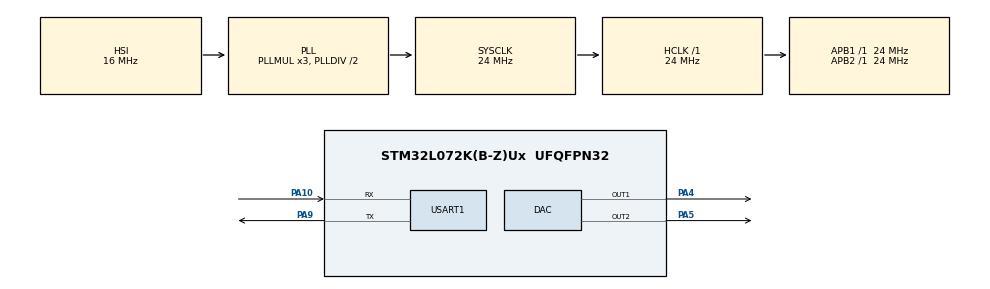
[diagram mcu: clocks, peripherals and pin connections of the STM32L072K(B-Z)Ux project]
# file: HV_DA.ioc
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ADC.ClockPrescaler=ADC_CLOCK_SYNC_PCLK_DIV4
ADC.SamplingTime=ADC_SAMPLETIME_160CYCLES_5
Mcu.Family=STM32L0
Mcu.Name=STM32L072K(B-Z)Ux
Mcu.Package=UFQFPN32
NVIC.ADC1_COMP_IRQn=true\:1\:0\:true\:false\:true\:true
NVIC.USART1_IRQn=true\:2\:0\:true\:false\:true\:true
PA10.Mode=Asynchronous
PA10.Signal=USART1_RX
PA13.Mode=Serial_Wire
PA13.Signal=SYS_SWDIO
PA14.Mode=Serial_Wire
PA14.Signal=SYS_SWCLK
PA4.Signal=COMP_DAC1_group
PA5.Signal=COMP_DAC2_group
PA9.Mode=Asynchronous
PA9.Signal=USART1_TX
ProjectManager.HeapSize=0x200
ProjectManager.StackSize=0x400
ProjectManager.TargetToolchain=MDK-ARM V5
RCC.AHBFreq_Value=24000000
RCC.APB1Freq_Value=24000000
RCC.APB1TimFreq_Value=24000000
RCC.APB2Freq_Value=24000000
RCC.APB2TimFreq_Value=24000000
RCC.HCLKFreq_Value=24000000
RCC.HSI16_VALUE=16000000
RCC.HSI48_VALUE=48000000
RCC.HSI_VALUE=16000000
RCC.LSE_VALUE=32768
RCC.MSI_VALUE=2097000
RCC.SYSCLKFreq_VALUE=24000000
RCC.SYSCLKSource=RCC_SYSCLKSOURCE_PLLCLK
RCC.VCOOutputFreq_Value=48000000
SH.COMP_DAC1_group.0=DAC_OUT1,DAC_OUT1
SH.COMP_DAC2_group.0=DAC_OUT2,DAC_OUT2
USART1.VirtualMode-Asynchronous=VM_ASYNC
VP_ADC_TempSens_Input.Mode=IN-TempSens
board=custom

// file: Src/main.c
/**
  ******************************************************************************
  * @file           : main.c
  * @brief          : Main program body
  ******************************************************************************
  ** This notice applies to any and all portions of this file
  * that are not between comment pairs USER CODE BEGIN and
  * USER CODE END. Other portions of this file, whether
  * inserted by the user or by software development tools
  * are owned by their respective copyright owners.
  *
  * COPYRIGHT(c) 2018 STMicroelectronics
  *
  * Redistribution and use in source and binary forms, with or without modification,
  * are permitted provided that the following conditions are met:
  *   1. Redistributions of source code must retain the above copyright notice,
  *      this list of conditions and the following disclaimer.
  *   2. Redistributions in binary form must reproduce the above copyright notice,
  *      this list of conditions and the following disclaimer in the documentation
  *      and/or other materials provided with the distribution.
  *   3. Neither the name of STMicroelectronics nor the names of its contributors
  *      may be used to endorse or promote products derived from this software
  *      without specific prior written permission.
  *
  * THIS SOFTWARE IS PROVIDED BY THE COPYRIGHT HOLDERS AND CONTRIBUTORS "AS IS"
  * AND ANY EXPRESS OR IMPLIED WARRANTIES, INCLUDING, BUT NOT LIMITED TO, THE
  * IMPLIED WARRANTIES OF MERCHANTABILITY AND FITNESS FOR A PARTICULAR PURPOSE ARE
  * DISCLAIMED. IN NO EVENT SHALL THE COPYRIGHT HOLDER OR CONTRIBUTORS BE LIABLE
  * FOR ANY DIRECT, INDIRECT, INCIDENTAL, SPECIAL, EXEMPLARY, OR CONSEQUENTIAL
  * DAMAGES (INCLUDING, BUT NOT LIMITED TO, PROCUREMENT OF SUBSTITUTE GOODS OR
  * SERVICES; LOSS OF USE, DATA, OR PROFITS; OR BUSINESS INTERRUPTION) HOWEVER
  * CAUSED AND ON ANY THEORY OF LIABILITY, WHETHER IN CONTRACT, STRICT LIABILITY,
  * OR TORT (INCLUDING NEGLIGENCE OR OTHERWISE) ARISING IN ANY WAY OUT OF THE USE
  * OF THIS SOFTWARE, EVEN IF ADVISED OF THE POSSIBILITY OF SUCH DAMAGE.
  *
  ******************************************************************************
  */
#include "main.h"
#include "stm32l0xx_hal.h"
//#include "stm32l072xx.h"

/* USER CODE BEGIN Includes */

#define TEMP130_CAL_ADDR ((uint16_t*) ((uint32_t) 0x1FF8007E))
#define TEMP30_CAL_ADDR ((uint16_t*) ((uint32_t) 0x1FF8007A))
#define VDD_CALIB ((uint16_t) (300))
#define VDD_APPLI ((uint16_t) (330))

//#define EEPROM_ADDR  0x08006000 //EEPROM 地址
/* USER CODE END Includes */

//要写入到STM32 FLASH的字符串数组
//const uint8_t TEXT_Buffer[]={"STM32F103 FLASH TEST"};
const uint16_t  f[12]={0,1,2,3,4,5,6,7,8,9,10,11};
//#define SIZE sizeof(b)		//数组长度
//#define FLASH_SAVE_ADDR  0X08070000		//设置FLASH 保存地址(必须为偶数，且其值要大于本代码所占用FLASH的大小+0X08000000)
#define FLASH_SAVE_ADDR1  0X08010000		//设置FLASH 保存地址(必须为偶数，且其值要大于本代码所占用FLASH的大小+0X08000000)

//用户根据自己的需要设置
#define STM32_FLASH_SIZE 	128 	 		//所选STM32的FLASH容量大小(单位为K)STM32F103ZE 512K  STM32L072KBUx为128K
#define STM32_FLASH_WREN 	1              	//使能FLASH写入(0，不是能;1，使能)
//////////////////////////////////////////////////////////////////////////////////////////////////////

//FLASH起始地址
#define STM32_FLASH_BASE 0x08000000 		//STM32 FLASH的起始地址
//FLASH解锁键值
//#define FLASH_KEY1               0X45670123
//#define FLASH_KEY2               0XCDEF89AB
#define FLASH_KEY1               0XFBEAD9C8
#define FLASH_KEY2               0X24252627

#define EEPROM_BASE_ADDR	0x08080000
#define EEPROM_BYTE_SIZE	0x01FF

 uint8_t TEXT_Buffer[]={"STM32F103 FLASH"};
#define SIZE sizeof(TEXT_Buffer)		//数组长度

//#define FLASH_OPTKEY1              ((uint32_t)0xFBEAD9C8U) /*!< Flash option key1 */
//#define FLASH_OPTKEY2              ((uint32_t)0x24252627U) /*!< Flash option key2: used with FLASH_OPTKEY1 to

ADC_HandleTypeDef hadc;

DAC_HandleTypeDef hdac;

UART_HandleTypeDef huart1;

//UART_HandleTypeDef huart2;

/* USER CODE BEGIN PV */
/* Private variables ---------------------------------------------------------*/

int16_t TempTab[16][3] = {  //温度补偿数组

	//                温度  1450  1660
//										{125,-80,  400},   //125----保护
//										{94, -80,  400},	  //85
//										{89, -97,  431},	  //80
//										{85, -81,  444},    //75
//										{80, -65,  458},    //70
//										{75, -44, 471},     //65
//										{70, -24, 484},			//60
//										{65, 8, 495},     //55
//										{60, 40,  505},			//50
//										{54, 58,  517},     //45
//
//										{48, 76,  531},     //40
//										{45, 95,  530},     //35
//										{39, 115, 530},			//30
//										{37, 150, 540},      //25
//										{33, 170, 545},			//20
//										{24, 210, 550},		  //15
//
//										{22, 220, 555},     //10
//										{19, 230, 555},      //5
//										{14, 255, 555},			//0
//										{9,  275, 555},      //-5
//										{5,  295, 545},		//-10
//										{0,  315, 530},	  //-15
//
//										{-5, 315, 505},    //-20
//										{-9, 330, 490},    //-25
//										{-14,360, 470},		//-30
//										{-18,365, 450},     //-35
//										{-23,375, 430},		//-40
//										{-28,385, 410},	    //-45
//										{-40,385, 410}	    //-50---保护

										{125,0,0},   //125----保护
										{86,0,0},	  //
										{75,0,0},	  //
										{66,0,0},    //
										{58,0,0},    //
										{49,0,0},     //
										{42,0,0},			//
										{33,0,0},     //
										{22,0,0},			//
										{15,0,0},     //

										{7,0,0},     //
										{-2,0,0},     //
										{-11,0,0},			//
										{-20,0,0},      //
										{-28,0,0},			//
										{-50,0,0}	    //-50---保护
								                        };

/* -----------------------------temperature参数----------------------------*/
int32_t ad_temp_avge=0;
int32_t temperature=0;
uint32_t temp_cnt=0;

int16_t temp_value,adj_temp_1450,adj_temp_1660,j;
/* -----------------------------电压参数----------------------------*/
uint32_t Vbias1450,Vbias1660;

/* -----------------------------dac参数-----------------------------*/
uint32_t  adc_val_pos=0;
int16_t  dac_val_adj=0,dac_val_adj_1=0;
uint8_t  dac_val_sign=0;
uint32_t dac_val_base= 4095;
uint32_t dac_val_set,dac1_1450_val_set,dac2_1660_val_set;

uint8_t  dac_uart_channel;
uint8_t  dac_uart_sign=0;
uint16_t  dac_uart_adj=0;
uint16_t  dac_uart_adj_H=0;
uint16_t  dac_uart_adj_L=0;

uint8_t  dac_uart_sign2=0;
uint16_t  dac_uart_adj2=0;
uint16_t  dac_uart_adj_H2=0;
uint16_t  dac_uart_adj_L2=0;
/* -----------------------------adc参数----------------------------*/
uint32_t adc_val=0;
uint8_t  adc_flag=0;

uint8_t ping_flag=0;

/* -----------------------------timer参数----------------------------*/
uint16_t systick_1scnt=0;
uint8_t systick_1sflag=0;
uint16_t systick_100mscnt=0;
uint8_t systick_100msflag=0;

/* -----------------------------uart参数----------------------------*/

//uint16_t a[12]={0,1,2,3,4,5,6,7,8,9,10,11};

#define RXBUF_NUM 1
uint8_t uart1_process_txbuf[102] = {0};
uint8_t uart1_process_rxbuf[102] = {0};
uint8_t rx_array_102=0;
uint8_t rxbuf[RXBUF_NUM] = {0};                //串口接收
uint8_t rxflag[10] = {0};
uint8_t arx_data=0;
uint8_t TX_ON,RX_ERR_FLAG;
uint8_t RX_FLAG = 1;
uint8_t RX_FLAG_PRO = 0;
int rx_index = 2;
uint8_t header_flag = 1;
uint8_t adc_or_rx = 1;

uint16_t  a[48]={0,1,2,3,4,5,6,7,8,9,10,11,11,10,9,8,7,6,5,4,3,2,1,0,0,1,2,3,4,5,6,7,8,9,10,11,11,10,9,8,7,6,5,4,3,2,1,0};
int16_t b[16]={0};
int16_t c[16]={0};
int16_t d[16]={0};
uint8_t e[96]={0};
uint8_t arr[2];

uint8_t datatemp[96];
/* -----------------------------eeprom参数----------------------------*/
uint32_t rdeeprom1=0;
uint32_t wreeprom1=0;
uint32_t rdeeprom2=0;
uint32_t wreeprom2=0;
/* USER CODE END PV */

void SystemClock_Config(void);
static void MX_GPIO_Init(void);
static void MX_DAC_Init(void);
static void MX_USART1_UART_Init(void);
static void MX_ADC_Init(void);
void Uart1_process(void);
/* USER CODE BEGIN PFP */
/* Private function prototypes -----------------------------------------------*/
void variables_Init(void);
int16_t FindBySeq(int16_t temp_value);
void adc_pro(void);

/* USER CODE END PFP */

#define EN_INT      	__enable_irq();		//???????
#define DIS_INT     	__disable_irq();	//???????
#define PEKEY1	0x89ABCDEF		//FLASH_PEKEYR
#define PEKEY2	0x02030405		//FLASH_PEKEYR

void EEPROM_Write_Bytes(uint32_t Addr,uint8_t *Buffer,uint16_t Length)
{
	uint32_t wAddr = DATA_EEPROM_BASE + Addr;

	HAL_FLASHEx_DATAEEPROM_EnableFixedTimeProgram();
	HAL_FLASHEx_DATAEEPROM_Unlock();

	while(Length--)
		{
		HAL_FLASHEx_DATAEEPROM_Program(FLASH_TYPEPROGRAMDATA_BYTE, wAddr, (uint32_t)(*Buffer));
		wAddr++;
		Buffer++;
	}

	HAL_FLASHEx_DATAEEPROM_Lock();
	HAL_FLASHEx_DATAEEPROM_DisableFixedTimeProgram();
}

void	EEPROM_read_Bytes(uint32_t	addr, uint8_t *data, uint16_t len)
{
	int8_t*	wAddr;
	wAddr = (int8_t*)(addr);
	while(len--)
	{
		*data++ = *wAddr++;
	}
}

/* USER CODE BEGIN 0 */

/*******************************************************************************
* : delay_us

*******************************************************************************/
void delay_us(uint32_t i)
{
    uint32_t temp;
    SysTick->LOAD=9*i;         //??????, 72MHZ?
    SysTick->CTRL=0X01;         //??,???????,???????
    SysTick->VAL=0;                //?????
    do
    {
        temp=SysTick->CTRL;           //????????
    }
    while((temp&0x01)&&(!(temp&(1<<16))));     //??????
    SysTick->CTRL=0;    //?????
    SysTick->VAL=0;        //?????
}

void Delay(__IO uint32_t nCount)  //软件延时函数
{
  for(; nCount != 0; nCount--);
}

void HAL_SYSTICK_Callback()   //滴答定时器回调函数
{
	 if(systick_1scnt<1000) systick_1scnt++;
	 else
	 {
      systick_1scnt=0;
      systick_1sflag=1;

			HAL_UART_Receive_IT(&huart1,(uint8_t *) rxbuf,RXBUF_NUM);
			RX_FLAG = 1;
			rx_index = 2;
			header_flag = 1;
			for(uint8_t index1=0;index1<10;index1++)
			rxflag[index1] = 0;
	 }

	 if(systick_100mscnt<100)
	 {
		  systick_100mscnt++;
	 }
	 else
	 {
      systick_100mscnt=0;
      systick_100msflag=1;
	 }
}

void HAL_UART_RxCpltCallback(UART_HandleTypeDef *UartHandle)  //接收中断回调函数
{
	adc_or_rx = 0;

	if (RX_FLAG == 1)
	{
		if (header_flag){
			if (rxbuf[0] == 0xaa)
				rxflag[0] = rxbuf[0];
			if (rxbuf[0] == 0x55){
				rxflag[1] = rxbuf[0];
				header_flag = 0;
				rx_index = 2;
			}
	  }
		if ((rxflag[0]==0xaa)&&(rxflag[1]==0x55)){
			uart1_process_rxbuf[rx_index++-1] = rxbuf[0];
		}
		if (uart1_process_rxbuf[3]+6 == rx_index){
			uart1_process_rxbuf[0] = rxflag[0];
			uart1_process_rxbuf[1] = rxflag[1];
			rx_index = 2;
			RX_FLAG=0;
			RX_FLAG_PRO = 1;
			header_flag = 1;
		}
//		if (RX_FLAG == 1)
			HAL_UART_Receive_IT(&huart1,(uint8_t *) rxbuf,RXBUF_NUM);
	}

}

void HAL_ADC_ConvCpltCallback(ADC_HandleTypeDef* hadc) //adc回调函数
{
	 adc_flag=1;
}

void variables_Init() //变量初始化
{

	 HAL_DAC_SetValue(&hdac, DAC_CHANNEL_1, DAC_ALIGN_12B_R, 4095);
	 HAL_DAC_Start(&hdac, DAC_CHANNEL_1);
	 HAL_DAC_SetValue(&hdac, DAC_CHANNEL_2, DAC_ALIGN_12B_R, 4095);
	 HAL_DAC_Start(&hdac, DAC_CHANNEL_2);
	 HAL_ADCEx_Calibration_Start(&hadc,ADC_SINGLE_ENDED);

	 HAL_Delay(1000);

   HAL_UART_Receive_IT(&huart1,(uint8_t *) rxbuf,RXBUF_NUM); //开接收中断，接收到1个数据后进入回调函数

}

//解锁STM32的FLASH
void STMFLASH_Unlock(void)
{
	FLASH->KEYR=FLASH_KEY1;//写入解锁序列.
	FLASH->KEYR=FLASH_KEY2;
}

//flash上锁
void STMFLASH_Lock(void)
{
	FLASH->CR|=1<<7;//上锁
}
//得到FLASH状态
uint8_t STMFLASH_GetStatus(void)
{
	uint32_t res;
	res=FLASH->SR;
	if(res&(1<<0))return 1;		    //忙
	else if(res&(1<<2))return 2;	//编程错误
	else if(res&(1<<4))return 3;	//写保护错误
	return 0;						//操作完成
}

//等待操作完成
//time:要延时的长短
//返回值:状态.
uint8_t STMFLASH_WaitDone(uint16_t time)
{
	uint8_t res;
	do
	{
		res=STMFLASH_GetStatus();
		if(res!=1)break;//非忙,无需等待了,直接退出.
		delay_us(1);
		time--;
	 }while(time);
	 if(time==0)res=0xff;//TIMEOUT
	 return res;
}
//擦除页
//paddr:页地址
//返回值:执行情况
uint8_t STMFLASH_ErasePage(uint32_t paddr)
{
	uint8_t res=0;
	res=STMFLASH_WaitDone(0X5FFF);//等待上次操作结束,>20ms
	if(res==0)
	{
		FLASH->CR|=1<<1;//页擦除
		FLASH->AR=paddr;//设置页地址
		FLASH->CR|=1<<6;//开始擦除
		res=STMFLASH_WaitDone(0X5FFF);//等待操作结束,>20ms
		if(res!=1)//非忙
		{
			FLASH->CR&=~(1<<1);//清除页擦除标志.
		}
	}
	return res;
}

//在FLASH指定地址写入半字
//faddr:指定地址(此地址必须为2的倍数!!)
//dat:要写入的数据
//返回值:写入的情况
uint8_t STMFLASH_WriteHalfWord(uint32_t faddr, uint16_t dat)
{
	uint8_t res;
	res=STMFLASH_WaitDone(0XFF);
	if(res==0)//OK
	{
		FLASH->CR|=1<<0;		//编程使能
		*(vu16*)faddr=dat;		//写入数据
		res=STMFLASH_WaitDone(0XFF);//等待操作完成
		if(res!=1)//操作成功
		{
			FLASH->CR&=~(1<<0);	//清除PG位.
		}
	}
	return res;
}
//读取指定地址的半字(16位数据)
//faddr:读地址
//返回值:对应数据.
uint16_t STMFLASH_ReadHalfWord(uint32_t faddr)
{
//	HAL_UART_Transmit(&huart1,(uint8_t *)a,24,5000);

	return *(vu16*)faddr;

}
#if STM32_FLASH_WREN	//如果使能了写
//不检查的写入
//WriteAddr:起始地址
//pBuffer:数据指针
//NumToWrite:半字(16位)数
void STMFLASH_Write_NoCheck(uint32_t WriteAddr,uint16_t *pBuffer,uint16_t NumToWrite)
{
	uint16_t i;
	for(i=0;i<NumToWrite;i++)
	{
		STMFLASH_WriteHalfWord(WriteAddr,pBuffer[i]);
	  WriteAddr+=2;//地址增加2.
	}
}

//从指定地址开始读出指定长度的数据
//ReadAddr:起始地址
//pBuffer:数据指针
//NumToWrite:半字(16位)数
void STMFLASH_Read(uint32_t ReadAddr,uint16_t *pBuffer,uint16_t NumToRead)
{
	uint16_t i;
//	HAL_UART_Transmit(&huart1,(uint8_t *)a,24,5000);
	for(i=0;i<NumToRead;i++)
	{
	//	HAL_UART_Transmit(&huart1,(uint8_t *)a,24,5000);
		pBuffer[i]=STMFLASH_ReadHalfWord(ReadAddr);//读取2个字节.
	//	HAL_UART_Transmit(&huart1,(uint8_t *)a,24,5000);
		ReadAddr+=2;//偏移2个字节.

	}
//	HAL_UART_Transmit(&huart1,(uint8_t *)a,24,5000);
}

//从指定地址开始写入指定长度的数据
//WriteAddr:起始地址(此地址必须为2的倍数!!)
//pBuffer:数据指针
//NumToWrite:半字(16位)数(就是要写入的16位数据的个数.)
#if STM32_FLASH_SIZE<256
#define STM_SECTOR_SIZE 1024 //字节
#else
#define STM_SECTOR_SIZE	2048
#endif
uint16_t STMFLASH_BUF[STM_SECTOR_SIZE/2];//最多是2K字节
void STMFLASH_Write(uint32_t WriteAddr,uint16_t *pBuffer,uint16_t NumToWrite)
{
	uint32_t secpos;	   //扇区地址
	uint16_t secoff;	   //扇区内偏移地址(16位字计算)
	uint16_t secremain; //扇区内剩余地址(16位字计算)
 	uint16_t i;
	uint32_t offaddr;   //去掉0X08000000后的地址
	if(WriteAddr<STM32_FLASH_BASE||(WriteAddr>=(STM32_FLASH_BASE+1024*STM32_FLASH_SIZE)))return;//非法地址
//	HAL_UART_Transmit(&huart1,(uint8_t *)a,24,5000);
	STMFLASH_Unlock();						//解锁
//	HAL_UART_Transmit(&huart1,(uint8_t *)a,24,5000);
	offaddr=WriteAddr-STM32_FLASH_BASE;		//实际偏移地址.
	secpos=offaddr/STM_SECTOR_SIZE;			//扇区地址  0~127 for STM32F103RBT6
	secoff=(offaddr%STM_SECTOR_SIZE)/2;		//在扇区内的偏移(2个字节为基本单位.)
	secremain=STM_SECTOR_SIZE/2-secoff;		//扇区剩余空间大小
 // HAL_UART_Transmit(&huart1,(uint8_t *)a,24,5000);
	/*
	STMFLASH_ErasePage(secpos*STM_SECTOR_SIZE+STM32_FLASH_BASE);
	for(i=0;i<NumToWrite;i++)
	{
		 STMFLASH_WriteHalfWord(WriteAddr+i*2,pBuffer[i]);
	}
	*/

	if(NumToWrite<=secremain)secremain=NumToWrite;//不大于该扇区范围
//	HAL_UART_Transmit(&huart1,(uint8_t *)a,24,5000);
	while(1)
	{
//		HAL_UART_Transmit(&huart1,(uint8_t *)a,24,5000);
		STMFLASH_Read(secpos*STM_SECTOR_SIZE+STM32_FLASH_BASE,STMFLASH_BUF,STM_SECTOR_SIZE/2);//读出整个扇区的内容
//		HAL_UART_Transmit(&huart1,(uint8_t *)a,24,5000);
		for(i=0;i<secremain;i++)	//校验数据
		{
			if(STMFLASH_BUF[secoff+i]!=0XFFFF)break;//需要擦除
		}
		if(i<secremain)				//需要擦除
		{
			STMFLASH_ErasePage(secpos*STM_SECTOR_SIZE+STM32_FLASH_BASE);//擦除这个扇区
			for(i=0;i<secremain;i++)//复制
			{
				STMFLASH_BUF[i+secoff]=pBuffer[i];
			}
			STMFLASH_Write_NoCheck(secpos*STM_SECTOR_SIZE+STM32_FLASH_BASE,STMFLASH_BUF,STM_SECTOR_SIZE/2);//写入整个扇区
		}else STMFLASH_Write_NoCheck(WriteAddr,pBuffer,secremain);//写已经擦除了的,直接写入扇区剩余区间.
		if(NumToWrite==secremain) break;//写入结束了
		else//写入未结束
		{
			secpos++;				//扇区地址增1
			secoff=0;				//偏移位置为0
		   	pBuffer+=secremain;  	//指针偏移
			WriteAddr+=secremain*2;	//写地址偏移(16位数据地址,需要*2)
		   	NumToWrite-=secremain;	//字节(16位)数递减
			if(NumToWrite>(STM_SECTOR_SIZE/2))secremain=STM_SECTOR_SIZE/2;//下一个扇区还是写不完
			else secremain=NumToWrite;//下一个扇区可以写完了
		}
	};

	STMFLASH_Lock();//上锁
}
#endif

uint16_t hebing(uint16_t res,uint8_t array[2])
{
    res=array[1];//gaowei
    res=(res<<8)|array[0];
  //  Info_UART_TX_PutChar(res);
    return res;

}

void adc_pro()  //adc处理函数
{
		HAL_UART_AbortReceive_IT(&huart1);

	   uint8_t adc_pro_txbuf[16] = {0};
		 int checksum = 0;

		 if(ping_flag==1)
      {
         for(uint8_t m=0;m<16;m++)
         {

          TempTab[m][0]=b[m];
          TempTab[m][1]=c[m];
					TempTab[m][2]=d[m];
          }

          ping_flag=0;
       }
	if(adc_flag==1)
		{
			 adc_flag=0;
			 HAL_ADC_Stop(&hadc);
			 adc_val=HAL_ADC_GetValue(&hadc);

			 temperature = ((adc_val * VDD_APPLI / VDD_CALIB)- (int32_t) *TEMP30_CAL_ADDR );
			 temperature = temperature * (int32_t)(130 - 30);
       temperature = temperature / (int32_t)(*TEMP130_CAL_ADDR - *TEMP30_CAL_ADDR);
       temperature = temperature + 30;
			 temp_cnt++;
		}

    if(systick_100msflag==1)
		{
			  systick_100msflag=0;
		    HAL_ADC_Start_IT(&hadc);
		}

		if(systick_1sflag==1)      //1秒钟进行一次补偿
		{
//			HAL_NVIC_DisableIRQ(USART1_IRQn);
			  systick_1sflag=0;
			  HAL_ADC_Stop(&hadc);

			  if(temp_cnt!=0)
				{

					  ad_temp_avge=temperature;
            if(ad_temp_avge>=0)
						  {
								temp_value=ad_temp_avge;
							}
						else
						  {
							  temp_value=-ad_temp_avge;
						    temp_value=-temp_value;
							}

            dac_val_base=3300;
						dac1_1450_val_set=dac_val_base;
						dac2_1660_val_set=dac_val_base;

             j=FindBySeq(temp_value);

         	adj_temp_1450=TempTab[j][1]+(TempTab[j+1][1]-TempTab[j][1])/(TempTab[j][0]-TempTab[j+1][0])*(TempTab[j][0]-temp_value) ;
          adj_temp_1660=TempTab[j][2]+(TempTab[j+1][2]-TempTab[j][2])/(TempTab[j][0]-TempTab[j+1][0])*(TempTab[j][0]-temp_value) ;

					dac1_1450_val_set=dac1_1450_val_set+adj_temp_1450;
					dac2_1660_val_set=dac2_1660_val_set+adj_temp_1660;

						if(dac_uart_sign)                       //串口dac1调节 1450
						{
						  dac1_1450_val_set=dac1_1450_val_set-dac_uart_adj;
						}
						else
						{
						dac1_1450_val_set=dac1_1450_val_set+dac_uart_adj;
						}

						if(dac_uart_sign2)                       //串口dac2调节 1660
						{
						dac2_1660_val_set=dac2_1660_val_set-dac_uart_adj2;
						}
						else
						{
						dac2_1660_val_set=dac2_1660_val_set+dac_uart_adj2;
						}

		       HAL_DAC_SetValue(&hdac, DAC_CHANNEL_1, DAC_ALIGN_12B_R, dac1_1450_val_set);   //设置dac1 1450
	         HAL_DAC_Start(&hdac, DAC_CHANNEL_1);
			     HAL_DAC_SetValue(&hdac, DAC_CHANNEL_2, DAC_ALIGN_12B_R, dac2_1660_val_set);   //设置dac2 1660
	         HAL_DAC_Start(&hdac, DAC_CHANNEL_2);

					adc_pro_txbuf[0]=0x55;
					adc_pro_txbuf[1]=0xAA;
					adc_pro_txbuf[2]=0xD1;
					adc_pro_txbuf[3]=0x0A;

					 if(ad_temp_avge>=0)
					 {
						  adc_pro_txbuf[4]=0;
						  adc_pro_txbuf[5]=ad_temp_avge;
					 }
					 else
					 {
						  adc_pro_txbuf[4]=0x01;
						  adc_pro_txbuf[5]=-ad_temp_avge;
					 }

					 Vbias1450=(71-dac1_1450_val_set*14.9994/1000)*100;
					 Vbias1660=(71-dac2_1660_val_set*14.9994/1000)*100;

					 adc_pro_txbuf[6]=Vbias1450>>8;
					 adc_pro_txbuf[7]=Vbias1450;
					 adc_pro_txbuf[8]=Vbias1660>>8;
					 adc_pro_txbuf[9]=Vbias1660;

					 adc_pro_txbuf[10]=dac1_1450_val_set>>8;
					 adc_pro_txbuf[11]=dac1_1450_val_set;
//					 printf("1->1450: %d = ",adc_pro_txbuf[10]);
//					 printf("2->1450: %d = ",adc_pro_txbuf[11]);
					 adc_pro_txbuf[12]=dac2_1660_val_set>>8;
					 adc_pro_txbuf[13]=dac2_1660_val_set;

					 for (int i = 1; i <= adc_pro_txbuf[3];i++)
					 {
							checksum += adc_pro_txbuf[3+i];
					 }

					 adc_pro_txbuf[14] = checksum & 0xFF;
					 adc_pro_txbuf[15] = (checksum>>8) & 0xFF;

	         HAL_UART_Transmit(&huart1,(uint8_t *)adc_pro_txbuf,16,5000);

			 //    HAL_UART_Transmit(&huart1,(uint8_t *)a,24,5000);
				//	 HAL_UART_Transmit(&huart1,(uint8_t *)TEXT_Buffer,SIZE,5000);
				//	 STMFLASH_Write(FLASH_SAVE_ADDR,(uint16_t *)TEXT_Buffer,SIZE);
		     //  HAL_UART_Transmit(&huart1,(uint8_t *)a,24,5000);
	       //  STMFLASH_Read(FLASH_SAVE_ADDR,(uint16_t *)datatemp,SIZE);
		    //   HAL_UART_Transmit(&huart1,(uint8_t *)datatemp,SIZE,5000);

			     temp_cnt=0;

				}
//				HAL_NVIC_EnableIRQ(USART1_IRQn);
		}
		HAL_UART_Receive_IT(&huart1,(uint8_t *) rxbuf,RXBUF_NUM);

}

int16_t FindBySeq(int16_t temp_value)
{

	  int16_t i;
    for ( i = 0; i < 16; i++)
    {
        if ((TempTab[i][0] >= temp_value) && (TempTab[i+1][0] < temp_value))
        return i;
    }
		return 0;
}

/* USER CODE END 0 */

int main(void)
{
 // 	uint16_t datatemp[SIZE];

  /* MCU Configuration----------------------------------------------------------*/

  /* Reset of all peripherals, Initializes the Flash interface and the Systick. */
  HAL_Init();

  /* Configure the system clock */
  SystemClock_Config();

  /* Initialize all configured peripherals */
  MX_GPIO_Init();
  MX_DAC_Init();
  MX_USART1_UART_Init();
  MX_ADC_Init();
  /* USER CODE BEGIN 2 */
  variables_Init();
  /* USER CODE END 2 */

  /* Infinite loop */
  /* USER CODE BEGIN WHILE */
	EEPROM_read_Bytes(0x08081000,datatemp,96);
	//   STMFLASH_Read(FLASH_SAVE_ADDR1,(uint16_t *)datatemp,96);
	HAL_UART_Transmit(&huart1,(uint8_t *)datatemp,96,5000);
	   for(uint8_t i=0;i<16;i++)
     {
          arr[0]=datatemp[i*6+0];
          arr[1]=datatemp[i*6+1];
          b[i]=hebing(b[i],arr);

          arr[0]=datatemp[i*6+2];
          arr[1]=datatemp[i*6+3];
          c[i]=hebing(c[i],arr);

				  arr[0]=datatemp[i*6+4];
          arr[1]=datatemp[i*6+5];
          d[i]=hebing(d[i],arr);
			 ping_flag=1;
		 }

  while (1)
  {
  /* USER CODE BEGIN 3 */
		Uart1_process();
		if (adc_or_rx)
			adc_pro();
	//	delay_us(1000000);
  }
  /* USER CODE END 3 */

}

void Info_DataProcess(uint8_t array[2],uint16_t res)
{
    array[0] = res&0x00FF;
    array[1] = (res&0xFF00) >>8;
}

void shuzuchafen(void)
{
   uint8_t i;
   for(i=0;i<16;i++)
   {
     b[i]=TempTab[i][0];

     c[i]=TempTab[i][1];

		 d[i]=TempTab[i][2];

	 }
}

int checksum_C3 = 0;
void Uart1_process(void)
{
	int checksum = 0;

	int vaild_data_num = 0;

//  char tmp[102] = {1,2,3,4,5,6,7,8,9,}; //only for test

	if(RX_FLAG_PRO)
	{
		RX_FLAG_PRO=0;
		if(uart1_process_rxbuf[0]==0xAA && uart1_process_rxbuf[1]==0x55)
		{
			switch(uart1_process_rxbuf[2])
			{
				case 0xC1:
					vaild_data_num = uart1_process_rxbuf[3];
//					HAL_UART_Transmit(&huart1,(uint8_t *)tmp,2,5000);
					if ((uart1_process_rxbuf[3+vaild_data_num+1]|(uart1_process_rxbuf[3+vaild_data_num+2]<<8)) == (uart1_process_rxbuf[4]+uart1_process_rxbuf[5]+uart1_process_rxbuf[6])){
						dac_uart_sign = uart1_process_rxbuf[4];
						dac_uart_adj_H = uart1_process_rxbuf[5];
						dac_uart_adj_L = uart1_process_rxbuf[6];
						dac_uart_adj = (dac_uart_adj_H<<8)+dac_uart_adj_L;
					}
					break;

				case 0xC2:
					vaild_data_num = uart1_process_rxbuf[3];
//				HAL_UART_Transmit(&huart1,(uint8_t *)tmp+1,2,5000);
					if ((uart1_process_rxbuf[3+vaild_data_num+1]|(uart1_process_rxbuf[3+vaild_data_num+2]<<8)) == (uart1_process_rxbuf[4]+uart1_process_rxbuf[5]+uart1_process_rxbuf[6])){
						dac_uart_sign2=uart1_process_rxbuf[4];
						dac_uart_adj_H2=uart1_process_rxbuf[5];
						dac_uart_adj_L2=uart1_process_rxbuf[6];
						dac_uart_adj2=(dac_uart_adj_H2<<8)+dac_uart_adj_L2;
					}
					break;

				case 0xC3:
					vaild_data_num = uart1_process_rxbuf[3];
//				  HAL_UART_Transmit(&huart1,(uint8_t *)tmp+2,2,5000);
					for (uint16_t index=0;index<vaild_data_num;index++)
							checksum += uart1_process_rxbuf[index+4];

				  checksum_C3 = (uart1_process_rxbuf[3+vaild_data_num+1])|(uart1_process_rxbuf[3+vaild_data_num+2]<<8);
					if ((checksum & 0xFF) == checksum_C3)
					{
						for(uint8_t i=0;i<16;i++)
						{
							arr[0]=uart1_process_rxbuf[i*6+4];
							e[i*6+0]=arr[0];
							arr[1]=uart1_process_rxbuf[i*6+5];
							e[i*6+1]=arr[1];
							b[i]=hebing(b[i],arr);

							arr[0]=uart1_process_rxbuf[i*6+6];
							e[i*6+2]=arr[0];
							arr[1]=uart1_process_rxbuf[i*6+7];
							e[i*6+3]=arr[1];
							c[i]=hebing(c[i],arr);

							arr[0]=uart1_process_rxbuf[i*6+8];
							e[i*6+4]=arr[0];
							arr[1]=uart1_process_rxbuf[i*6+9];
							e[i*6+5]=arr[1];
							d[i]=hebing(d[i],arr);
						}
						ping_flag=1;
					}
					break;
				case 0xC4:
//						HAL_UART_Transmit(&huart1,(uint8_t *)tmp+3,2,5000);
						EEPROM_Write_Bytes(0x1000,(uint8_t *)e,96);
						break;
				case 0xC5:
//					HAL_UART_Transmit(&huart1,(uint8_t *)tmp+4,2,5000);
						uart1_process_txbuf[0]=0x55;
						uart1_process_txbuf[1]=0xAA;
						uart1_process_txbuf[2]=0xD2;
						uart1_process_txbuf[3]=0x60;
						shuzuchafen();
						for(uint8_t j=0;j<16;j++)
						{
							Info_DataProcess(arr,b[j]);
							uart1_process_txbuf[j*6+4]=arr[0];
							uart1_process_txbuf[j*6+5]=arr[1];

							Info_DataProcess(arr,c[j]);
							uart1_process_txbuf[j*6+6]=arr[0];
							uart1_process_txbuf[j*6+7]=arr[1];

							Info_DataProcess(arr,d[j]);
							uart1_process_txbuf[j*6+8]=arr[0];
							uart1_process_txbuf[j*6+9]=arr[1];
						}
						for (uint8_t num=4;num<=99;num++)
							checksum +=  uart1_process_txbuf[num];

						uart1_process_txbuf[100] = checksum & 0xFF;
						uart1_process_txbuf[101] = (checksum>>8) & 0xFF;
						HAL_UART_Transmit(&huart1,(uint8_t *)uart1_process_txbuf,102,5000);
						break;
				case 0xC6:
					TX_ON=1;
					break;
				case 0xC7:
					TX_ON=0;
					break;
				default:
					break;
			}
		}
/*
		if(RX_ERR_FLAG)
		{
			RX_ERR_FLAG=0;
			HAL_UART_Receive_IT(&huart1,(uint8_t *) rxbuf,RXBUF_NUM);
		}
*/
		for(uint8_t index1=0;index1<10;index1++)
			rxflag[index1] = 0;
		for(uint8_t index2=0;index2<102;index2++)
			uart1_process_rxbuf[index2] = 0;

//		__HAL_UART_ENABLE_IT(&huart1, UART_IT_RXNE);
//		__HAL_UART_CLEAR_FLAG(&huart1,UART_CLEAR_TCF);
		HAL_UART_Receive_IT(&huart1,(uint8_t *) rxbuf,RXBUF_NUM);
		RX_FLAG = 1;
		adc_or_rx = 1;
	}

}

void SystemClock_Config(void)
  {

  RCC_OscInitTypeDef RCC_OscInitStruct;
  RCC_ClkInitTypeDef RCC_ClkInitStruct;
  RCC_PeriphCLKInitTypeDef PeriphClkInit;

    /**Configure the main internal regulator output voltage
    */
  __HAL_PWR_VOLTAGESCALING_CONFIG(PWR_REGULATOR_VOLTAGE_SCALE1);

    /**Initializes the CPU, AHB and APB busses clocks
    */
  RCC_OscInitStruct.OscillatorType = RCC_OSCILLATORTYPE_HSI;
  RCC_OscInitStruct.HSIState = RCC_HSI_ON;
  RCC_OscInitStruct.HSICalibrationValue = 16;
  RCC_OscInitStruct.PLL.PLLState = RCC_PLL_ON;
  RCC_OscInitStruct.PLL.PLLSource = RCC_PLLSOURCE_HSI;
  RCC_OscInitStruct.PLL.PLLMUL = RCC_PLLMUL_3;
  RCC_OscInitStruct.PLL.PLLDIV = RCC_PLLDIV_2;
  if (HAL_RCC_OscConfig(&RCC_OscInitStruct) != HAL_OK)
  {
    _Error_Handler(__FILE__, __LINE__);
  }

    /**Initializes the CPU, AHB and APB busses clocks
    */
  RCC_ClkInitStruct.ClockType = RCC_CLOCKTYPE_HCLK|RCC_CLOCKTYPE_SYSCLK
                              |RCC_CLOCKTYPE_PCLK1|RCC_CLOCKTYPE_PCLK2;
  RCC_ClkInitStruct.SYSCLKSource = RCC_SYSCLKSOURCE_PLLCLK;
  RCC_ClkInitStruct.AHBCLKDivider = RCC_SYSCLK_DIV1;
  RCC_ClkInitStruct.APB1CLKDivider = RCC_HCLK_DIV1;
  RCC_ClkInitStruct.APB2CLKDivider = RCC_HCLK_DIV1;

  if (HAL_RCC_ClockConfig(&RCC_ClkInitStruct, FLASH_LATENCY_1) != HAL_OK)
  {
    _Error_Handler(__FILE__, __LINE__);
  }

  PeriphClkInit.PeriphClockSelection = RCC_PERIPHCLK_USART1;
  PeriphClkInit.Usart1ClockSelection = RCC_USART1CLKSOURCE_PCLK2;
  if (HAL_RCCEx_PeriphCLKConfig(&PeriphClkInit) != HAL_OK)
  {
    _Error_Handler(__FILE__, __LINE__);
  }

    /**Configure the Systick interrupt time
    */
  HAL_SYSTICK_Config(HAL_RCC_GetHCLKFreq()/1000);

    /**Configure the Systick
    */
  HAL_SYSTICK_CLKSourceConfig(SYSTICK_CLKSOURCE_HCLK);

  /* SysTick_IRQn interrupt configuration */
//  HAL_NVIC_SetPriority(SysTick_IRQn, 2, 2);
}

/* ADC init function */
static void MX_ADC_Init(void)
{

  ADC_ChannelConfTypeDef sConfig;

    /**Configure the global features of the ADC (Clock, Resolution, Data Alignment and number of conversion)
    */
  hadc.Instance = ADC1;
  hadc.Init.OversamplingMode = DISABLE;
  hadc.Init.ClockPrescaler = ADC_CLOCK_SYNC_PCLK_DIV4;
  hadc.Init.Resolution = ADC_RESOLUTION_12B;
  hadc.Init.SamplingTime = ADC_SAMPLETIME_160CYCLES_5;
  hadc.Init.ScanConvMode = ADC_SCAN_DIRECTION_FORWARD;
  hadc.Init.DataAlign = ADC_DATAALIGN_RIGHT;
  hadc.Init.ContinuousConvMode = DISABLE;
  hadc.Init.DiscontinuousConvMode = DISABLE;
  hadc.Init.ExternalTrigConvEdge = ADC_EXTERNALTRIGCONVEDGE_NONE;
  hadc.Init.ExternalTrigConv = ADC_SOFTWARE_START;
  hadc.Init.DMAContinuousRequests = DISABLE;
  hadc.Init.EOCSelection = ADC_EOC_SINGLE_CONV;
  hadc.Init.Overrun = ADC_OVR_DATA_PRESERVED;
  hadc.Init.LowPowerAutoWait = DISABLE;
  hadc.Init.LowPowerFrequencyMode = DISABLE;
  hadc.Init.LowPowerAutoPowerOff = DISABLE;
  if (HAL_ADC_Init(&hadc) != HAL_OK)
  {
    _Error_Handler(__FILE__, __LINE__);
  }

    /**Configure for the selected ADC regular channel to be converted.
    */
  sConfig.Channel = ADC_CHANNEL_TEMPSENSOR;
  sConfig.Rank = ADC_RANK_CHANNEL_NUMBER;
  if (HAL_ADC_ConfigChannel(&hadc, &sConfig) != HAL_OK)
  {
    _Error_Handler(__FILE__, __LINE__);
  }

}

/* DAC init function */
static void MX_DAC_Init(void)
{

  DAC_ChannelConfTypeDef sConfig;

    /**DAC Initialization
    */
  hdac.Instance = DAC;
  if (HAL_DAC_Init(&hdac) != HAL_OK)
  {
    _Error_Handler(__FILE__, __LINE__);
  }

    /**DAC channel OUT1 config
    */
  sConfig.DAC_Trigger = DAC_TRIGGER_NONE;
  sConfig.DAC_OutputBuffer = DAC_OUTPUTBUFFER_ENABLE;
  if (HAL_DAC_ConfigChannel(&hdac, &sConfig, DAC_CHANNEL_1) != HAL_OK)
  {
    _Error_Handler(__FILE__, __LINE__);
  }

    /**DAC channel OUT2 config
    */
  if (HAL_DAC_ConfigChannel(&hdac, &sConfig, DAC_CHANNEL_2) != HAL_OK)
  {
    _Error_Handler(__FILE__, __LINE__);
  }

}

/* USART1 init function */
static void MX_USART1_UART_Init(void)
{

  huart1.Instance = USART1;
  huart1.Init.BaudRate = 9600;
  huart1.Init.WordLength = UART_WORDLENGTH_8B;
  huart1.Init.StopBits = UART_STOPBITS_1;
  huart1.Init.Parity = UART_PARITY_NONE;
  huart1.Init.Mode = UART_MODE_TX_RX;
  huart1.Init.HwFlowCtl = UART_HWCONTROL_NONE;
  huart1.Init.OverSampling = UART_OVERSAMPLING_16;
  huart1.Init.OneBitSampling = UART_ONE_BIT_SAMPLE_DISABLE;
  huart1.AdvancedInit.AdvFeatureInit = UART_ADVFEATURE_NO_INIT;
  if (HAL_UART_Init(&huart1) != HAL_OK)
  {
    _Error_Handler(__FILE__, __LINE__);
  }
//	HAL_NVIC_SetPriority(USART1_IRQn, 1, 1);
//	__HAL_UART_ENABLE_IT(&huart1, UART_IT_RXNE);
//	__HAL_UART_CLEAR_FLAG(&huart1,UART_CLEAR_TCF);
}

/** Configure pins as
        * Analog
        * Input
        * Output
        * EVENT_OUT
        * EXTI
*/
static void MX_GPIO_Init(void)
{

  /* GPIO Ports Clock Enable */
  __HAL_RCC_GPIOA_CLK_ENABLE();

}

void _Error_Handler(char *file, int line)
{
  while(1)
  {
  }
}

/************************ (C) COPYRIGHT STMicroelectronics *****END OF FILE****/
